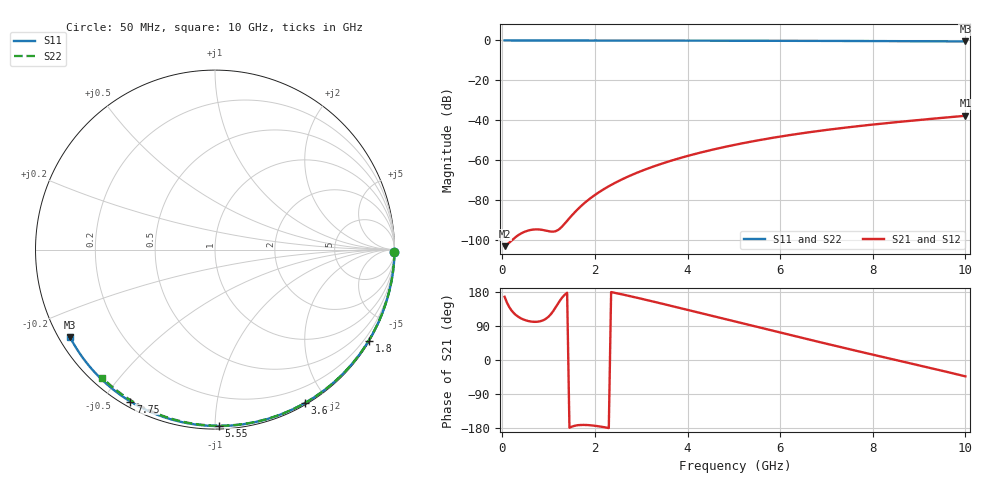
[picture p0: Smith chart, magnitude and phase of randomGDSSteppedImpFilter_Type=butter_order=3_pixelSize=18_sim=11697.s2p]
! freq	dB(S11)	phase(S11)	dB(S12)	phase(S12)
!  dB(S21)	phase(S21)	dB(S22)	phase(S22)
!S-par simulation data
#  GHz  S  DB  R 50
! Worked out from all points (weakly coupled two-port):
!   200 points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, 50 MHz to 10 GHz, reference 50 ohm
!   highest |S21| = -37.68 dB at 10 GHz (marker M1); lowest = -102.9 dB at 50 MHz (marker M2)
!   lowest |S11| = -0.5 dB at 10 GHz (marker M3), VSWR 34.49, Z = 1.56 - j13.9 ohm
!   |S11| at or under -10 dB: nowhere
!   |S22| runs from -0.4 to 0.0 dB; largest |S21 - S12| = 0
!   S11 on the Smith chart (normalised r, x): 50 MHz: open; 1.8 GHz: 0.03, -3.66; 3.6 GHz: 0.02, -1.74; 5.55 GHz: 0.02, -1.02; 7.75 GHz: 0.02, -0.59; 10 GHz: 0.03, -0.28
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0.05  -0.00 -0.9  -102.92 166.8  -102.92 166.8  -0.00 -0.8
0.45  -0.01 -7.8  -96.04 107.2  -96.04 107.2  -0.01 -6.8
0.9  -0.02 -15.5  -94.92 105.9  -94.92 105.9  -0.02 -13.6
1.75  -0.04 -29.8  -81.83 -171.3  -81.83 -171.3  -0.03 -26.2
1.8  -0.04 -30.6  -80.84 -171.4  -80.84 -171.4  -0.03 -26.9
1.85  -0.04 -31.4  -79.90 -171.7  -79.90 -171.7  -0.04 -27.6
2  -0.04 -33.9  -77.31 -173.5  -77.31 -173.5  -0.04 -29.8
2.15  -0.05 -36.4  -75.01 -176.3  -75.01 -176.3  -0.04 -32.0
2.35  -0.05 -39.7  -72.29 179.2  -72.29 179.2  -0.04 -34.9
2.55  -0.06 -42.9  -69.89 174.1  -69.89 174.1  -0.05 -37.8
2.95  -0.06 -49.4  -65.79 163.1  -65.79 163.1  -0.06 -43.5
3.4  -0.08 -56.5  -61.97 150.1  -61.97 150.1  -0.07 -49.9
3.6  -0.08 -59.6  -60.48 144.2  -60.48 144.2  -0.07 -52.6
4.3  -0.10 -70.4  -55.98 123.4  -55.98 123.4  -0.09 -62.2
5.05  -0.13 -81.5  -52.07 100.9  -52.07 100.9  -0.11 -72.2
5.55  -0.15 -88.8  -49.86 85.9  -49.86 85.9  -0.13 -78.6
6.1  -0.17 -96.6  -47.72 69.5  -47.72 69.5  -0.15 -85.6
6.7  -0.20 -104.9  -45.69 51.7  -45.69 51.7  -0.18 -93.0
7.75  -0.28 -119.1  -42.71 21.2  -42.71 21.2  -0.24 -105.6
8.35  -0.33 -127.1  -41.25 4.2  -41.25 4.2  -0.29 -112.6
9.2  -0.41 -138.3  -39.35 -19.9  -39.35 -19.9  -0.36 -122.3
10  -0.50 -148.9  -37.68 -43.2  -37.68 -43.2  -0.44 -131.3
